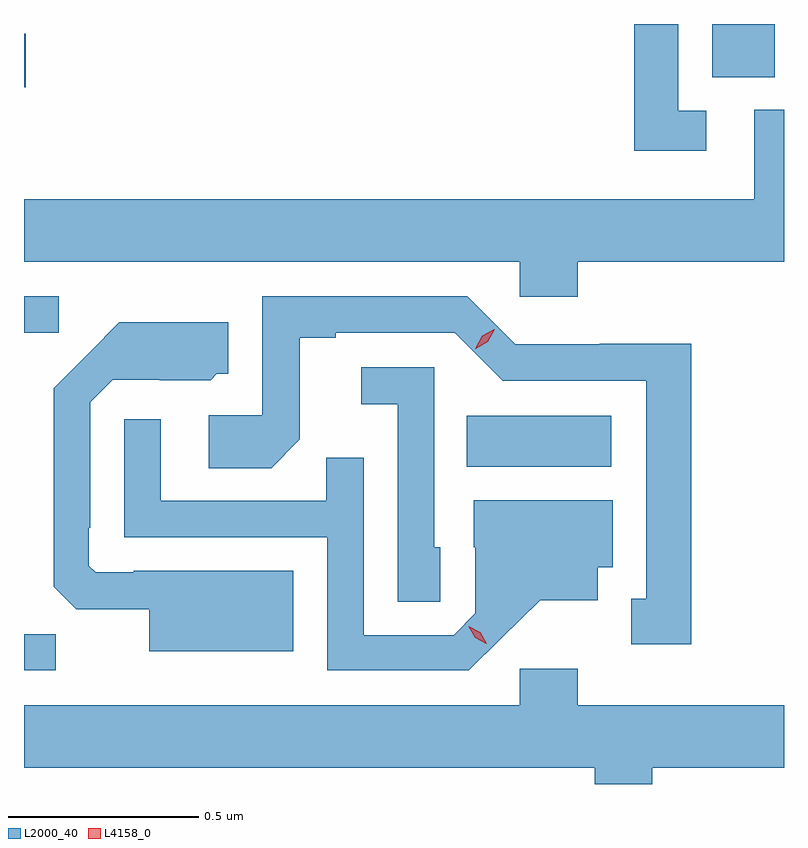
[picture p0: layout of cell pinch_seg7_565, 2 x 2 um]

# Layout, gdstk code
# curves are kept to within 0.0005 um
import gdstk
lib = gdstk.Library(unit=1e-6, precision=1e-09)
def R(c, l, rs):  # rectangles x0, y0, x1, y1
    for r in rs: c.add(gdstk.rectangle(r[:2], r[2:], *l))
def P(c, l, *ps):  # polygons
    for p in ps: c.add(gdstk.Polygon(p, *l))
L2000_40 = (2000, 40)
L4158_0 = (4158, 0)

pinch_seg7_565 = lib.new_cell('pinch_seg7_565')
R(pinch_seg7_565, L2000_40, [(145.749,1071.468,145.833,1071.563), (146.914,1072.004,147.295,1072.138), (145.749,1072.356,145.84,1072.452), (145.749,1073.002,145.753,1073.144), (147.56,1073.029,147.724,1073.169)])
P(pinch_seg7_565, L2000_40, [(147.544,1072.941),(147.471,1072.941),(147.471,1073.169),(147.355,1073.169),(147.355,1072.836),(147.544,1072.836)],
  [(147.206,1072.544),(147.749,1072.544),(147.749,1072.944),(147.671,1072.944),(147.671,1072.708),(145.749,1072.708),(145.749,1072.544),(147.054,1072.544),(147.054,1072.451),(147.206,1072.451)],
  [(147.505,1072.328),(147.264,1072.328),(147.264,1072.326),(147.042,1072.326),(146.916,1072.452),(146.376,1072.452),(146.376,1072.14),(146.235,1072.14),(146.235,1072),(146.399,1072),(146.475,1072.076),(146.475,1072.344),(146.569,1072.344),(146.569,1072.356),(146.883,1072.356),(147.009,1072.23),(147.386,1072.23),(147.386,1071.657),(147.347,1071.657),(147.347,1071.537),(147.505,1071.537)],
  [(146.458,1071.73),(146.038,1071.73),(146.038,1071.726),(145.938,1071.726),(145.92,1071.744),(145.92,1071.844),(145.923,1071.844),(145.923,1072.173),(145.983,1072.233),(146.106,1072.233),(146.106,1072.232),(146.24,1072.232),(146.256,1072.248),(146.287,1072.248),(146.287,1072.384),(145.999,1072.384),(145.827,1072.21),(145.827,1071.688),(145.886,1071.629),(146.078,1071.629),(146.078,1071.518),(146.458,1071.518)],
  [(146.844,1071.792),(146.829,1071.792),(146.829,1072.266),(146.637,1072.266),(146.637,1072.169),(146.733,1072.169),(146.733,1071.649),(146.844,1071.649)],
  [(147.004,1071.551),(147.107,1071.653),(147.259,1071.653),(147.259,1071.74),(147.298,1071.74),(147.298,1071.916),(146.933,1071.916),(146.933,1071.792),(146.937,1071.792),(146.937,1071.618),(146.88,1071.561),(146.643,1071.561),(146.643,1072.028),(146.545,1072.028),(146.545,1071.915),(146.109,1071.915),(146.109,1072.129),(146.013,1072.129),(146.013,1071.819),(146.547,1071.819),(146.547,1071.468),(146.92,1071.468)],
  [(147.402,1071.212),(147.749,1071.212),(147.749,1071.376),(147.206,1071.376),(147.206,1071.472),(147.054,1071.472),(147.054,1071.376),(145.749,1071.376),(145.749,1071.212),(147.251,1071.212),(147.251,1071.169),(147.402,1071.169)])
P(pinch_seg7_565, L4158_0, [(146.937,1072.315),(146.937,1072.315),(146.955,1072.348),(146.987,1072.366),(146.988,1072.366),(146.988,1072.366),(146.97,1072.333),(146.938,1072.315)],
  [(146.966,1071.538),(146.936,1071.554),(146.919,1071.583),(146.919,1071.584),(146.919,1071.584),(146.95,1071.568),(146.967,1071.538),(146.967,1071.538)])

lib.write_gds('pinch_seg7_565.gds')
